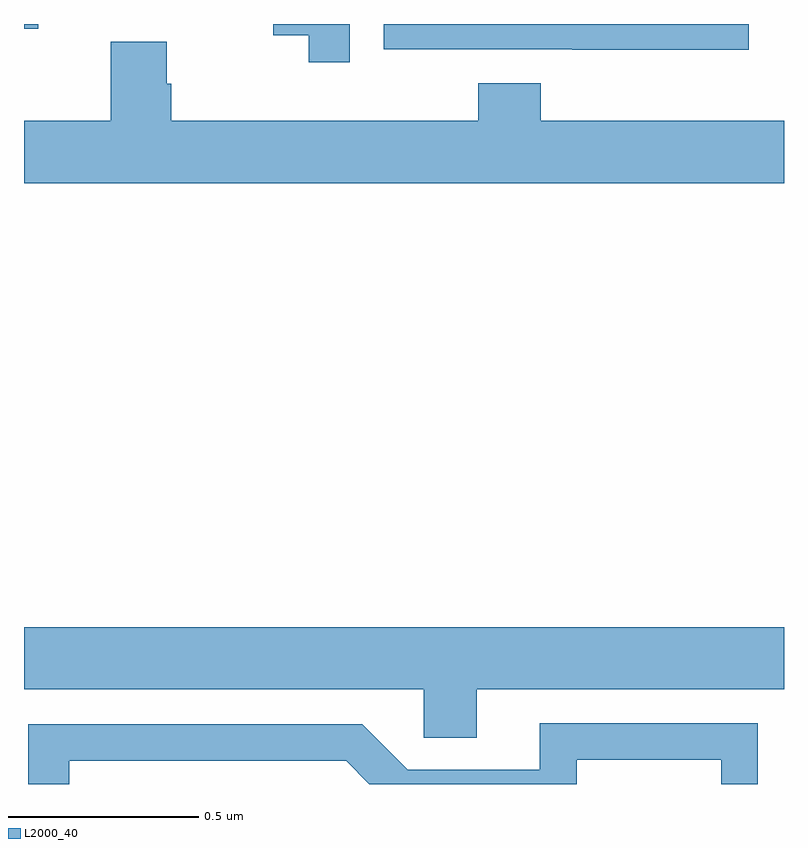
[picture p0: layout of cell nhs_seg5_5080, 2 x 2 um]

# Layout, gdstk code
import gdstk
lib = gdstk.Library(unit=1e-6, precision=1e-09)
def R(c, l, rs):  # rectangles x0, y0, x1, y1
    for r in rs: c.add(gdstk.rectangle(r[:2], r[2:], *l))
def P(c, l, *ps):  # polygons
    for p in ps: c.add(gdstk.Polygon(p, *l))
L2000_40 = (2000, 40)

nhs_seg5_5080 = lib.new_cell('nhs_seg5_5080')
R(nhs_seg5_5080, L2000_40, [(178,903.786,178.037,903.799)])
P(nhs_seg5_5080, L2000_40, [(179.907,903.799),(178.947,903.799),(178.947,903.732),(179.443,903.732),(179.443,903.731),(179.907,903.731)],
  [(178.857,903.799),(178.656,903.799),(178.656,903.769),(178.749,903.769),(178.749,903.699),(178.857,903.699)],
  [(180,903.544),(179.36,903.544),(179.36,903.643),(179.195,903.643),(179.195,903.544),(178.388,903.544),(178.388,903.642),(178.375,903.642),(178.375,903.752),(178.228,903.752),(178.228,903.544),(178,903.544),(178,903.38),(180,903.38)],
  [(179.191,902.048),(180,902.048),(180,902.212),(178,902.212),(178,902.048),(179.052,902.048),(179.052,901.921),(179.191,901.921)],
  [(178.119,901.86),(178.848,901.86),(178.909,901.799),(179.454,901.799),(179.454,901.863),(179.835,901.863),(179.835,901.799),(179.931,901.799),(179.931,901.959),(179.357,901.959),(179.357,901.836),(179.01,901.836),(178.89,901.956),(178.011,901.956),(178.011,901.799),(178.119,901.799)])

lib.write_gds('nhs_seg5_5080.gds')
